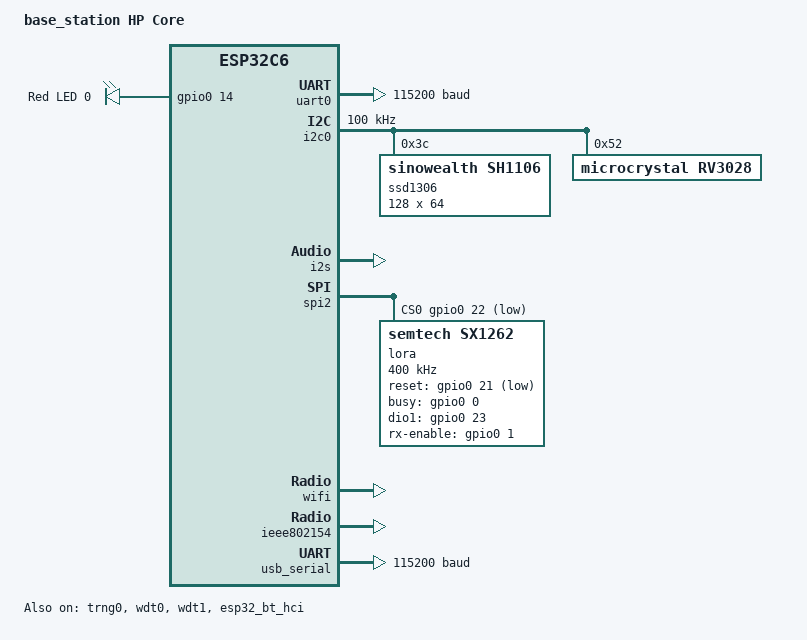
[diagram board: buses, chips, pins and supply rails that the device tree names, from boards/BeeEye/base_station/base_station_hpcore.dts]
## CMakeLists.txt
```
cmake_minimum_required(VERSION 3.20.0)

find_package(Zephyr REQUIRED HINTS $ENV{ZEPHYR_BASE})

project(sensor-gateway)

target_sources(app PRIVATE 
    src/main.c
    src/display.c
    src/rtc_clock.c
    src/appconfig.c
    src/shell.c
    src/wifi.c
    src/lora.c
    src/influx_sender.c
    src/font_tom_thumb.c
)

target_include_directories(app PRIVATE
  ${CMAKE_CURRENT_SOURCE_DIR}/include
)
```

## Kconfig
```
source "Kconfig.zephyr"

config DISPLAY_LOG_BACKEND
    bool "Enable display log backend"
    default n
```

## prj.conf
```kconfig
# System settingsp
CONFIG_BOOT_BANNER=y
CONFIG_POSIX_API=y
CONFIG_PICOLIBC=y
CONFIG_PICOLIBC_IO_FLOAT=y
CONFIG_CBPRINTF_LIBC_SUBSTS=y
CONFIG_CBPRINTF_FP_SUPPORT=y
CONFIG_REBOOT=y
CONFIG_USB_CDC_ACM=y
CONFIG_ENTROPY_GENERATOR=y
CONFIG_SYSTEM_WORKQUEUE_STACK_SIZE=4096

# Peripherals
CONFIG_I2C=y
CONFIG_SPI=y
CONFIG_DISPLAY=y
CONFIG_RTC=y
CONFIG_SERIAL=y
CONFIG_UART_LINE_CTRL=y
CONFIG_LORA=y

# Logging 
CONFIG_CONSOLE=y
CONFIG_UART_CONSOLE=y
CONFIG_LOG=y
CONFIG_LOG_MODE_IMMEDIATE=y

# LVGL (UI)
CONFIG_LVGL=y
CONFIG_LV_CONF_MINIMAL=y
CONFIG_LV_Z_VDB_SIZE=100
CONFIG_LV_Z_MEM_POOL_SIZE=16384

CONFIG_LV_DPI_DEF=32
CONFIG_LV_Z_COLOR_MONO_HW_INVERSION=y
CONFIG_LV_COLOR_DEPTH_1=y

CONFIG_LV_USE_LOG=y
CONFIG_LV_USE_LABEL=y
CONFIG_LV_USE_TEXTAREA=y
CONFIG_LV_USE_IMAGE=y
CONFIG_LV_USE_FLEX=y
CONFIG_LV_FONT_UNSCII_8=y
CONFIG_LV_FONT_UNSCII_16=y

# Settings
CONFIG_SETTINGS=y
CONFIG_SETTINGS_NVS=y
CONFIG_NVS=y
CONFIG_FLASH=y
CONFIG_FLASH_MAP=y

# WDT
CONFIG_TASK_WDT=y

# Wi-Fi Configuration
CONFIG_WIFI=y
CONFIG_NET_L2_WIFI_MGMT=y
CONFIG_NET_L2_ETHERNET=y
CONFIG_NETWORKING=y
CONFIG_NET_DHCPV4=y
CONFIG_NET_IPV4=y
CONFIG_NET_TCP=y
CONFIG_SNTP=y
CONFIG_DNS_RESOLVER=y
CONFIG_WIFI_CREDENTIALS=y

# HTTP
CONFIG_NET_SOCKETS=y
CONFIG_HTTP_CLIENT=y
CONFIG_BASE64=y

# Shell
CONFIG_SHELL=y
CONFIG_SHELL_BACKEND_SERIAL=y
CONFIG_DEVICE_SHELL=n
CONFIG_DEVMEM_SHELL=n
CONFIG_KERNEL_SHELL=n
CONFIG_NET_L2_WIFI_SHELL=y
CONFIG_WIFI_CREDENTIALS_SHELL=y
CONFIG_SHELL_WILDCARD=n

# Detailed log configuration
# CONFIG_NET_LOG=y
# CONFIG_WIFI_LOG_LEVEL_DBG=y
# CONFIG_WIFI_NM_LOG_LEVEL_DBG=y
# CONFIG_NET_L2_WIFI_MGMT_LOG_LEVEL_DBG=y
# CONFIG_NET_MGMT_EVENT_LOG_LEVEL_DBG=y
# CONFIG_NET_CONFIG_LOG_LEVEL_DBG=y
# CONFIG_NET_CONNECTION_MANAGER_LOG_LEVEL_DBG=y
# CONFIG_NET_CORE_LOG_LEVEL_DBG=y
# CONFIG_NET_IF_LOG_LEVEL_DBG=y
# CONFIG_LV_USE_LOG=y
# CONFIG_DISPLAY_LOG_LEVEL_WRN=y
```

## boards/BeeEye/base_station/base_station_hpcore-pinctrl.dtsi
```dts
/*
 * Copyright (c) 2023 Espressif Systems (Shanghai) Co., Ltd.
 *
 * SPDX-License-Identifier: Apache-2.0
 */

#include <zephyr/dt-bindings/pinctrl/esp-pinctrl-common.h>
#include <zephyr/dt-bindings/pinctrl/esp32c6-pinctrl.h>
#include <zephyr/dt-bindings/pinctrl/esp32c6-gpio-sigmap.h>

&pinctrl {
	uart0_default: uart0_default {
		group1 {
			pinmux = <UART0_TX_GPIO16>;
			output-high;
		};

		group2 {
			pinmux = <UART0_RX_GPIO17>;
			bias-pull-up;
		};
	};

	spim2_default: spim2_default {
		group1 {
			pinmux = <SPIM2_MISO_GPIO18>, <SPIM2_MOSI_GPIO19>, <SPIM2_SCLK_GPIO20>;
		};
	};

	i2c0_default: i2c0_default {
		group1 {
			pinmux = <I2C0_SDA_GPIO6>, <I2C0_SCL_GPIO7>;
			bias-pull-up;
			drive-open-drain;
			output-high;
		};
	};

	i2s_default: i2s_default {
		group1 {
			pinmux = <I2S_O_SD_GPIO8>;
			// output-enable;
		};
	};	
};
```

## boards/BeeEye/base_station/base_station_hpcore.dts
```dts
/*
 * Copyright (c) 2023 Espressif Systems (Shanghai) Co., Ltd.
 *
 * SPDX-License-Identifier: Apache-2.0
 */

/dts-v1/;

#include <zephyr/dt-bindings/led/led.h>

#include <espressif/esp32c6/esp32c6_wroom_n4.dtsi>
#include "base_station_hpcore-pinctrl.dtsi"
#include <zephyr/dt-bindings/input/input-event-codes.h>
#include <espressif/partitions_0x0_default_4M.dtsi>


/ {
	model = "base_station HP Core";
	compatible = "espressif,esp32c6";

	chosen {
		zephyr,sram = &sramhp;
		zephyr,console = &usb_serial;
		zephyr,shell-uart = &usb_serial;
		zephyr,flash = &flash0;
		zephyr,code-partition = &slot0_partition;
		zephyr,ieee802154 = &ieee802154;
		zephyr,display = &ssd1306;
	};

	aliases {
		watchdog0 = &wdt0;
	};

	gpio_keys {
		compatible = "gpio-keys";
	};

	leds {
		compatible = "gpio-leds";

		led0: led_0 {
			gpios = <&gpio0 14 GPIO_ACTIVE_HIGH>;
			label = "Red LED 0";
		};
	};
};

&uart0 {
	status = "okay";
	current-speed = <115200>;
	pinctrl-0 = <&uart0_default>;
	pinctrl-names = "default";
};

&trng0 {
	status = "okay";
};

&i2c0 {
	status = "okay";
	clock-frequency = <I2C_BITRATE_STANDARD>;
	pinctrl-0 = <&i2c0_default>;
	pinctrl-names = "default";

	ssd1306: oled@3c {
		compatible = "sinowealth,sh1106";
		reg = <0x3c>;
		width = <128>;
		height = <64>;
		segment-offset = <0>;
		page-offset = <0>;
		display-offset = <0>;
		multiplex-ratio = <63>;
		segment-remap;
		com-invdir;
		prechargep = <0x22>;
    };

 	rv3028: rv3028@52 {
		status = "okay";
        compatible = "microcrystal,rv3028";
        reg = <0x52>;        
		backup-switch-mode = "level";
		trickle-resistor-ohms = <15000>;		
    };


};

&i2s {
	status = "okay";
	pinctrl-0 = <&i2s_default>;
	pinctrl-names = "default";
};

&spi2 {
	#address-cells = <1>;
	#size-cells = <0>;
	status = "okay";
	pinctrl-0 = <&spim2_default>;
	pinctrl-names = "default";

	cs-gpios = <&gpio0 22 GPIO_ACTIVE_LOW>;

	lora: sx1262@0 {
        compatible = "semtech,sx1262";
        reg = <0>;
        status = "okay";
        spi-max-frequency = <400000>;

        reset-gpios = <&gpio0 21 GPIO_ACTIVE_LOW>;
        busy-gpios  = <&gpio0 0 GPIO_ACTIVE_HIGH>;
        dio1-gpios  = <&gpio0 23 GPIO_ACTIVE_HIGH>;
        rx-enable-gpios = <&gpio0 1 GPIO_ACTIVE_HIGH>;
        dio2-tx-enable;

        /*
            Acceptable TXCO voltage constants:
            #define SX126X_DIO3_TCXO_1V6	0x00
            #define SX126X_DIO3_TCXO_1V7	0x01
            #define SX126X_DIO3_TCXO_1V8	0x02
            #define SX126X_DIO3_TCXO_2V2	0x03
            #define SX126X_DIO3_TCXO_2V4	0x04
            #define SX126X_DIO3_TCXO_2V7	0x05
            #define SX126X_DIO3_TCXO_3V0	0x06
            #define SX126X_DIO3_TCXO_3V3	0x07
         */
        dio3-tcxo-voltage = <2>; 
        tcxo-power-startup-delay-ms = <500>;
    };
};

&gpio0 {
	status = "okay";
};

&wdt0 {
	status = "okay";
};

&wdt1 {
	status = "okay";
};

&wifi {
	status = "okay";
};

&ieee802154 {
	status = "okay";
};

&esp32_bt_hci {
	status = "okay";
};

&dma {
    status = "okay";
};


&usb_serial {
    status = "okay";
	current-speed = <115200>;
};
```

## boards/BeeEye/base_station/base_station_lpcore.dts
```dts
/*
 * Copyright (c) 2025 Espressif Systems (Shanghai) Co., Ltd.
 *
 * SPDX-License-Identifier: Apache-2.0
 */
/dts-v1/;

#include <espressif/esp32c6/esp32c6_lpcore_wroom_n4.dtsi>
#include <espressif/partitions_0x0_default.dtsi>

/ {
	model = "Base Station LPCORE";
	compatible = "espressif,esp32c6";

	chosen {
		zephyr,sram = &ulp_ram;
		zephyr,code-partition = &slot0_lpcore_partition;
		zephyr,console = &lp_uart;
		zephyr,shell-uart = &lp_uart;
	};
};

&lp_uart {
	status = "okay";
	current-speed = <115200>;
};
```

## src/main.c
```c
#include "display.h"
#include "appconfig.h"
#include "wifi.h"
#include "lora.h"
#include "rtc_clock.h"

#include <zephyr/kernel.h>
#include <zephyr/device.h>
#include <zephyr/devicetree.h>
#include <zephyr/logging/log.h>
#include <zephyr/drivers/rtc.h>
#include <zephyr/drivers/display.h>
#include <zephyr/drivers/lora.h>
#include <zephyr/random/random.h>
#include <zephyr/net/sntp.h>
#include <zephyr/sys/timeutil.h>
#include <zephyr/task_wdt/task_wdt.h>
#include <zephyr/sys/reboot.h>

#include "esp_system.h"

LOG_MODULE_REGISTER(app, CONFIG_LOG_DEFAULT_LEVEL);

static int post(void);

static const struct device *dev_display = DEVICE_DT_GET(DT_CHOSEN(zephyr_display));

static const char *get_reset_reason_string(esp_reset_reason_t reset_reason);

int main(void)
{
    int ret;
    k_msleep(1000); // so tio has time to connect

    esp_reset_reason_t rst_reason = esp_reset_reason();
    LOG_INF("RESET REASON: %s (%d)", get_reset_reason_string(rst_reason), rst_reason);

    if (!device_is_ready(dev_display)) {
        LOG_ERR("Display is not ready");
        return -ENODEV;
    } else {
        display_blanking_off(dev_display);
        display_start();
    }

    ret = post();
    if (ret) {
        LOG_ERR("POST failed");
        return 0;
    }

    display_printf("Connecting to WiFi... ");
    ret = wifi_auto_connect();
    if (ret == -ENOENT) {
        display_printf("FAILED.\nNo WiFi credentials stored.\n");
    } else if (ret == -ENETUNREACH) {
        display_printf("FAILED.\nCouldn't connect to any network.\n");
    } else if (ret) {
        display_printf("FAILED.\nError code: %d\n", ret);
    } else {
        display_printf("OK.\n");
    }

    ret = lora_start();
    if (ret) {
        LOG_ERR("LoRa start failed: %d", ret);
        return 0;
    }

    display_printf("Ready\n");

    uint64_t last_sync = 0;
    while (1) {
        k_msleep(30000);

        uint64_t now = k_uptime_get();
        if (wifi_is_connected() && (last_sync == 0 || (now - last_sync) / 3600000 > 24)) {
            rtc_synchronize_time();
            last_sync = now;
        }

        if (!wifi_is_connected()) {
            ret = wifi_auto_connect();
            if(!ret) {
                display_printf("WiFi connected\n");
            }
        }
    }

    return 0;
}

static const struct device *dev_rtc = DEVICE_DT_GET(DT_NODELABEL(rv3028));
static const struct device *dev_lora = DEVICE_DT_GET(DT_NODELABEL(lora));

static int post(void) {
    int ret;

    if (!device_is_ready(dev_rtc)) {
        LOG_ERR("RTC not ready");
        return -ENODEV;
    }

    if (!device_is_ready(dev_lora)) {
        LOG_ERR("LoRa not ready");
        return -ENODEV;
    }

    ret = appconfig_init();
    if (ret) {
        LOG_ERR("Couldn't load app settings: %d", ret);
    }

    ret = task_wdt_init(NULL);
    if (ret) {
        LOG_ERR("Couldn't init Task WDT: %d", ret);
    }

    ret = wifi_init();
    if (ret) {
        LOG_ERR("WiFi init failed: %d", ret);
    }

    return 0;
}

static const char *get_reset_reason_string(esp_reset_reason_t reset_reason)
{
    switch (reset_reason) {
    case ESP_RST_UNKNOWN:    return "UNKNOWN";
    case ESP_RST_POWERON:    return "POWERON";
    case ESP_RST_EXT:        return "EXTERNAL";
    case ESP_RST_SW:         return "SW";
    case ESP_RST_PANIC:      return "PANIC";
    case ESP_RST_INT_WDT:    return "INT_WDT";
    case ESP_RST_TASK_WDT:   return "TASK_WDT";
    case ESP_RST_WDT:        return "WDT";
    case ESP_RST_DEEPSLEEP:  return "DEEPSLEEP";
    case ESP_RST_BROWNOUT:   return "BROWNOUT";
    case ESP_RST_SDIO:       return "SDIO";
    case ESP_RST_USB:        return "USB";
    case ESP_RST_JTAG:       return "JTAG";
    case ESP_RST_EFUSE:      return "EFUSE";
    case ESP_RST_PWR_GLITCH: return "PWR_GLITCH";
    case ESP_RST_CPU_LOCKUP: return "CPU_LOCKUP";
    default:                 return "INVALID";
    }
}
```

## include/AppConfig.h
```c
#pragma once
#include <stdint.h>
#include <stddef.h>

constexpr uint16_t APP_CONFIG_VERSION = 1;
constexpr size_t   SSID_MAX_LEN   = 32;
constexpr size_t   PASS_MAX_LEN   = 64;
constexpr size_t   INFLUX_URL_MAX_LEN   = 256;
constexpr size_t   INFLUX_USER_MAX_LEN   = 32;
constexpr size_t   INFLUX_PASS_MAX_LEN   = 64;

struct AppConfig final {
  uint16_t version;
  uint16_t reserved;
  char     ssid[SSID_MAX_LEN + 1];
  char     pass[PASS_MAX_LEN + 1];
  uint16_t timeZoneOffset;
  uint8_t  rf24Channel;
  uint8_t  rf24Address[5];
  char     influxUrl[INFLUX_URL_MAX_LEN + 1];
  char     influxUser[INFLUX_USER_MAX_LEN + 1];
  char     influxPass[INFLUX_PASS_MAX_LEN + 1];

  // Must be last
  uint32_t crc;     // CRC32 over everything before this field

  bool checkCrc();
  void updateCrc();
  bool load();
  bool save();
  void dump();
};

static_assert(sizeof(AppConfig) - sizeof(AppConfig::crc) == offsetof(AppConfig, crc));

extern AppConfig appConfig;
```

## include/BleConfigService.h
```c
#pragma once
#include "AppConfig.h"

#include <BLEDevice.h>
#include <BLECharacteristic.h>
#include <BLEServer.h>
#include <BLEServer.h>
#include <BLEUtils.h>

class BLEConfigService : public BLECharacteristicCallbacks, BLEServerCallbacks {
public:
  BLEConfigService(const char* deviceName = "ESP32_Config") : _deviceName(deviceName) {}
  void begin(AppConfig* cfg);

private:
  const char* _deviceName;
  BLEServer* _server = nullptr;
  BLEService* _service = nullptr;
  BLECharacteristic* _configChar = nullptr;
  AppConfig* _cfg = nullptr;

  void onWrite(BLECharacteristic* c) override;
  void onConnect(BLEServer *pServer, ble_gap_conn_desc *desc) override;
  void onDisconnect(BLEServer *pServer, ble_gap_conn_desc *desc) override;
};
```

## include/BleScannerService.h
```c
#pragma once

#include <BLEDevice.h>
#include <BLEUtils.h>
#include <BLEScan.h>
#include <BLEAdvertisedDevice.h>

class BLEScannerService: public BLEAdvertisedDeviceCallbacks {
public:
  BLEScannerService(const char* deviceName = "ESP32_Config") : _deviceName(deviceName) {}
  void begin();

private:
  void onResult(BLEAdvertisedDevice advertisedDevice) override;
  void onScanComplete();

  const char* _deviceName;
  BLEScan* scanner = nullptr;
};
```

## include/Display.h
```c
#pragma once
#include <WString.h>


bool displayBegin();
void displayPrint(const String& text);
void displayPrintf(const char* format, ...);
void displayFatalError(const char* error);
void drawStatusBar(bool wifi);
void displayTime(uint8_t hour, uint8_t minute, bool showDots, bool wifiConnected, float temp, uint8_t fontSize = 4);
```

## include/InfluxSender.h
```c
#pragma once

struct Measure;

void processMeasure(const struct Measure& measure);
```

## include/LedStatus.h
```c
#pragma once
#include <stdint.h>

enum class PixelSignal:uint8_t {
  None = 0,
  Initializing = 1,
  Error = 2,
  Ok = 3,
  Warning = 4
};
void statusLedBegin();
void setPixelSignal(PixelSignal signal, uint8_t brightness = 127);
```

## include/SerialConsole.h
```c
#pragma once
#include <stddef.h>

typedef void (*CommandHandler)(const char*);

struct CommandEntry {
  const char* name;
  CommandHandler handler;
  const char* help;
};

class SerialConsole final {
public:
    SerialConsole(CommandEntry* commandDefinitions, size_t count);
    void begin();
private:
    void printHelp();
    void worker();
    CommandEntry    *m_commands;
    size_t          m_commandCount;
    friend void serialConsoleTask(void *param);
};

#define SERIAL_CONSOLE(commandDefs) {commandDefs, sizeof(commandDefs) / sizeof(CommandEntry)}
```

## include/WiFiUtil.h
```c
#pragma once
#include <stdint.h>

bool initWifi();
bool connectWifi(uint32_t timeout_ms = 10000);
void scanWifiNetworks();
void autoAdjustWiFiPower();
```

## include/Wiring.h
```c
#pragma once
#include <stdint.h>

namespace Wiring {
    namespace OledDisplay {
        constexpr uint8_t ScreenWidth = 128;
        constexpr uint8_t ScreenHeight = 64;
        constexpr uint8_t ResetPin = -1;
        constexpr uint8_t Address = 0x3C;
    }

    namespace SX1262 {
        constexpr float FREQ    = 868.1;
        constexpr uint8_t CS    = 0;
        constexpr uint8_t RST   = 1;
        constexpr uint8_t SCK   = 2;
        constexpr uint8_t MOSI  = 3;
        constexpr uint8_t MISO  = 4;
        constexpr uint8_t DIO1  = 18;
        constexpr uint8_t BUSY  = 15;
        constexpr uint8_t RFSW  = 14;
    }

    constexpr uint8_t SDA = 19;
    constexpr uint8_t SCL = 20;
}
```

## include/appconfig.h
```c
#pragma once

#include <stdint.h>
#include <stddef.h>
#include <stdbool.h>

#define APP_CONFIG_VERSION 1
#define SSID_MAX_LEN 32
#define PASS_MAX_LEN 64
#define INFLUX_URL_MAX_LEN 256
#define INFLUX_USER_MAX_LEN 32
#define INFLUX_PASS_MAX_LEN 64

struct app_config {
  uint16_t tz_offset;
  char     influx_url[INFLUX_URL_MAX_LEN + 1];
  char     influx_user[INFLUX_USER_MAX_LEN + 1];
  char     influx_pass[INFLUX_PASS_MAX_LEN + 1];
};

extern struct app_config app_config;

/* API */
int appconfig_init(void);
int appconfig_save(void);
void appconfig_dump(void);
```

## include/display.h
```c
#pragma once

int display_start(void);
void display_printf(const char* format, ...);
```

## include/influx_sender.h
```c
#pragma once

struct measure;

int influx_post_measure(const struct measure *m);
```
